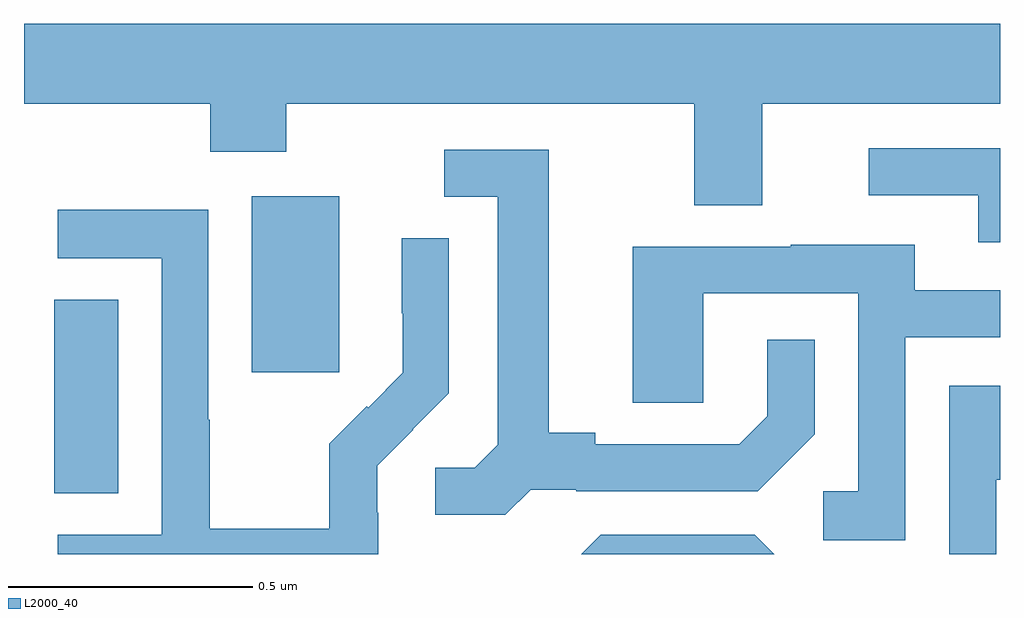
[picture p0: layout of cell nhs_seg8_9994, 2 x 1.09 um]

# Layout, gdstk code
import gdstk
lib = gdstk.Library(unit=1e-6, precision=1e-09)
def R(c, l, rs):  # rectangles x0, y0, x1, y1
    for r in rs: c.add(gdstk.rectangle(r[:2], r[2:], *l))
def P(c, l, *ps):  # polygons
    for p in ps: c.add(gdstk.Polygon(p, *l))
L2000_40 = (2000, 40)

nhs_seg8_9994 = lib.new_cell('nhs_seg8_9994')
R(nhs_seg8_9994, L2000_40, [(243.062,1125.025,243.193,1125.422), (243.467,1125.273,243.646,1125.634)])
P(nhs_seg8_9994, L2000_40, [(244.513,1125.824),(245,1125.824),(245,1125.988),(243,1125.988),(243,1125.824),(243.382,1125.824),(243.382,1125.725),(243.537,1125.725),(243.537,1125.824),(244.373,1125.824),(244.373,1125.616),(244.513,1125.616)],
  [(245,1125.732),(244.731,1125.732),(244.731,1125.636),(244.955,1125.636),(244.955,1125.54),(245,1125.54)],
  [(244.038,1125.033),(244.132,1125.033),(244.132,1125.03),(244.504,1125.03),(244.62,1125.146),(244.62,1125.34),(244.523,1125.34),(244.523,1125.183),(244.466,1125.126),(244.171,1125.126),(244.171,1125.149),(244.075,1125.149),(244.075,1125.729),(243.861,1125.729),(243.861,1125.633),(243.971,1125.633),(243.971,1125.125),(243.924,1125.078),(243.843,1125.078),(243.843,1124.981),(243.986,1124.981)],
  [(243.726,1124.985),(243.724,1124.985),(243.724,1125.082),(243.798,1125.156),(243.797,1125.157),(243.87,1125.23),(243.87,1125.548),(243.774,1125.548),(243.774,1125.394),(243.776,1125.394),(243.776,1125.272),(243.705,1125.201),(243.702,1125.204),(243.625,1125.127),(243.625,1124.953),(243.381,1124.953),(243.381,1125.176),(243.378,1125.176),(243.378,1125.606),(243.069,1125.606),(243.069,1125.507),(243.282,1125.507),(243.282,1124.94),(243.069,1124.94),(243.069,1124.9),(243.726,1124.9)],
  [(244.806,1125.345),(245,1125.345),(245,1125.441),(244.825,1125.441),(244.825,1125.535),(244.571,1125.535),(244.571,1125.531),(244.247,1125.531),(244.247,1125.211),(244.392,1125.211),(244.392,1125.435),(244.71,1125.435),(244.71,1125.03),(244.638,1125.03),(244.638,1124.929),(244.806,1124.929)],
  [(244.992,1125.053),(245,1125.053),(245,1125.246),(244.896,1125.246),(244.896,1124.9),(244.992,1124.9)],
  [(244.497,1124.94),(244.182,1124.94),(244.142,1124.9),(244.537,1124.9)])

lib.write_gds('nhs_seg8_9994.gds')
